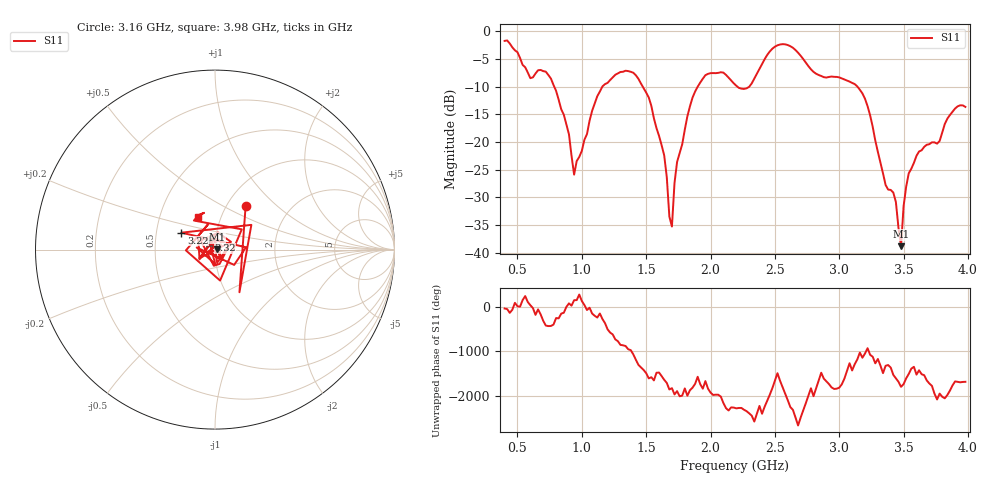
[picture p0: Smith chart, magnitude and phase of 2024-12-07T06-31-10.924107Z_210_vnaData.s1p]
!Created with skrf (http://scikit-rf.org).
# Hz S RI R 50.0
!freq ReS11 ImS11
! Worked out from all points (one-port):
!   180 points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, 400 MHz to 3.98 GHz, reference 50 ohm
!   lowest |S11| = -38.9 dB at 3.48 GHz (marker M1), VSWR 1.02, Z = 51.2 + j0.0854 ohm
!   |S11| at or under -10 dB: 785 MHz to 1.16 GHz (374.7 MHz wide, 38.5 % of centre); 1.472 GHz to 1.901 GHz (428.5 MHz wide, 25.4 % of centre); 3.141 GHz to end of sweep (the widest 3 of 4)
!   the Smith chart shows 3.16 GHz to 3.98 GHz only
!   S11 on the Smith chart (normalised r, x): 3.16 GHz: 1.22, +0.65; 3.22 GHz: 0.67, +0.13; 3.32 GHz: 0.93, +0.10; 3.98 GHz: 0.78, +0.30
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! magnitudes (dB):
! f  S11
! 400 MHz  -1.8
! 600 MHz  -8.5
! 720 MHz  -7.3
! 860 MHz  -15.1
! 940 MHz  -25.9
! 1.12 GHz  -11.8
! 1.3 GHz  -7.4
! 1.52 GHz  -12.0
! 1.64 GHz  -22.5
! 1.68 GHz  -33.5
! 1.7 GHz  -35.3
! 1.72 GHz  -27.4
! 1.76 GHz  -22.0
! 1.86 GHz  -12.0
! 1.96 GHz  -8.0
! 2.2 GHz  -9.9
! 2.3 GHz  -10.1
! 2.5 GHz  -2.8
! 2.64 GHz  -3.0
! 3.1 GHz  -9.4
! 3.16 GHz  -10.6
! 3.22 GHz  -13.6
! 3.32 GHz  -23.7
! 3.44 GHz  -30.9
! 3.48 GHz  -38.9
! 3.5 GHz  -31.6
! 3.54 GHz  -25.7
! 3.98 GHz  -13.7
